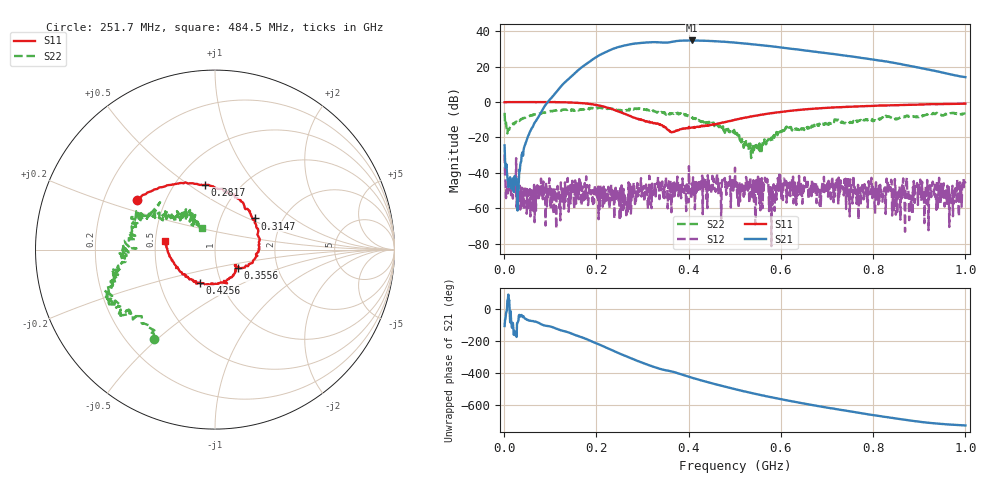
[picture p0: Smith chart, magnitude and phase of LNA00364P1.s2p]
! Created with skrf 1.9.0 (http://scikit-rf.org).
# Hz S RI R 50.0
!freq ReS11 ImS11 ReS21 ImS21 ReS12 ImS12 ReS22 ImS22
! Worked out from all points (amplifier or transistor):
!   1001 points, 1 MHz to 1 GHz, reference 50 ohm
!   highest |S21| = 34.8 dB at 406.6 MHz (marker M1)
!   |S21| within 3 dB of that: 258.5 MHz to 568.7 MHz (310.2 MHz wide, 75 % of centre)
!   unconditionally stable (mu >= 1): start of sweep to 78.05 MHz; 215.9 MHz to 314.6 MHz; 400.9 MHz to end of sweep (the widest 3 of 33)
!   at 166.8 MHz: K = 3.14, MAG = 30.9 dB, |S12| = -58.3 dB
!   at 500.5 MHz: K = 1.00, MAG = 35.2 dB, |S12| = -37.0 dB
!   at 1 GHz: K = 2.58, MAG = 23.0 dB, |S12| = -45.9 dB
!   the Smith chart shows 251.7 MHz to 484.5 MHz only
!   S11 on the Smith chart (normalised r, x): 251.7 MHz: 0.34, +0.26; 281.7 MHz: 0.70, +0.58; 314.7 MHz: 1.45, +0.55; 355.6 MHz: 1.26, -0.26; 425.6 MHz: 0.79, -0.30; 484.5 MHz: 0.56, +0.06
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1000000  0.9916 0.00425  -0.0168 -0.0573  -0.0327 0.00724  0.3366 0.3665
1.08892e8  0.5128 -0.8528  -0.7695 -1.452  -0.00337 -0.00171  0.4336 -0.3646
1.67833e8  -0.2516 -0.8964  -9.486 -0.6269  0.000807 0.000902  0.0507 -0.6259
2.12788e8  -0.6994 -0.3024  -14.67 17.81  0.00294 -8.53e-06  -0.2087 -0.6302
2.31769e8  -0.6511 0.0151  -7.611 29  -0.00462 -0.00171  -0.296 -0.5796
2.51749e8  -0.4339 0.2791  6.736 36.09  0.00372 1.64e-05  -0.3376 -0.4982
2.81719e8  -0.0551 0.3607  32.11 30.47  -0.00515 6.3e-05  -0.5521 -0.3063
3.14686e8  0.223 0.1738  47.99 6.269  -0.00516 0.00656  -0.5726 -0.1164
3.34666e8  0.2428 -0.0131  47.48 -9.918  -0.00224 0.00316  -0.5019 -0.0506
3.55645e8  0.1276 -0.1014  43.11 -21.34  8.37e-05 0.00396  -0.4807 0.0498
3.76624e8  0.1175 -0.1113  39.24 -35.75  -0.000738 0.00661  -0.4657 0.1816
4.06594e8  0.0184 -0.19  19.15 -51.24  -0.00118 0.00483  -0.3093 0.2063
4.25575e8  -0.0856 -0.1834  4.268 -53.75  0.00473 0.000951  -0.2342 0.1783
4.53547e8  -0.2079 -0.1026  -15.54 -49.95  0.00599 0.00375  -0.1578 0.1951
4.84516e8  -0.2767 0.0505  -31.97 -37.88  0.00616 -0.00114  -0.0725 0.1201
5.005e8  -0.2807 0.1502  -37.41 -29.5  0.0134 -0.00436  -0.0862 0.0657
5.4046e8  -0.1967 0.3522  -41.5 -8.48  0.00564 0.00271  -0.0617 0.0177
5.88412e8  0.0197 0.5033  -34.38 11.39  0.00335 -0.00181  -0.0827 -0.0868
6.67333e8  0.4051 0.5019  -12.98 23.5  -0.00194 -0.0063  -0.1995 -0.083
7.53247e8  0.6855 0.2848  4.146 18.83  -0.00133 -0.00252  -0.2694 -0.0325
8.34166e8  0.8048 0.0209  10.17 8.933  -0.00381 0.00269  -0.3809 -0.0218
1e9  0.7309 -0.525  4.964 -0.7911  -0.00424 0.00278  -0.3499 0.313
